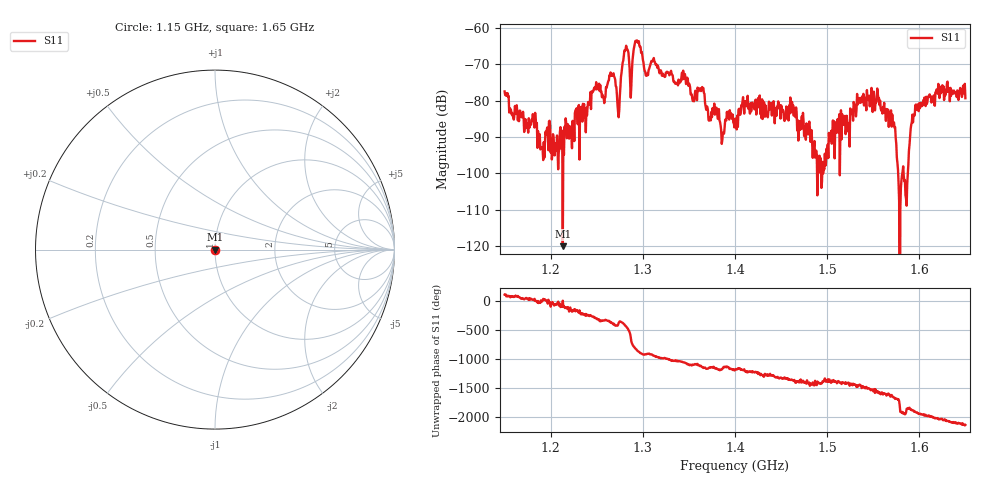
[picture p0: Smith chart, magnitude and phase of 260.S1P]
! C:\Users\rflab\Downloads\Lab5_KD_ZW\Q2\260.S1P
! Touchstone 1.1 file saved by VNA.EXE V1.65 (www.ke5fx.com/gpib/readme.htm)
! 11/12/2024 1:29:52 AM
!  Source: HEWLETT PACKARD,8753D,0,6.14
!  Min freq: 1.150000E+009 Hz
!  Max freq: 1.650000E+009 Hz
!  Points: 801
!  Params: S21
# GHZ S RI R 50
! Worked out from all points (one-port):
!   801 points, 1.15 GHz to 1.65 GHz, reference 50 ohm
!   lowest |S11| = -120.0 dB at 1.213 GHz (marker M1), VSWR 1.00, Z = 50 + j0 ohm
!   |S11| at or under -10 dB: start of sweep to end of sweep
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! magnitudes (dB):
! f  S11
! 1.15 GHz  -77.4
! 1.157 GHz  -83.7
! 1.212 GHz  -88.3
! 1.213 GHz  -120.0
! 1.24 GHz  -81.9
! 1.25 GHz  -76.9
! 1.257 GHz  -79.0
! 1.266 GHz  -72.8
! 1.272 GHz  -81.1
! 1.275 GHz  -78.7
! 1.281 GHz  -66.3
! 1.282 GHz  -65.6
! 1.288 GHz  -75.9
! 1.291 GHz  -64.3
! 1.294 GHz  -63.4
! 1.304 GHz  -73.1
! 1.312 GHz  -68.3
! 1.337 GHz  -75.2
! 1.346 GHz  -73.6
! 1.354 GHz  -80.1
! 1.363 GHz  -77.3
! 1.37 GHz  -81.7
! 1.4 GHz  -85.8
! 1.462 GHz  -82.9
! 1.525 GHz  -82.1
! 1.587 GHz  -100.1
! 1.63 GHz  -75.2
! 1.65 GHz  -79.3
